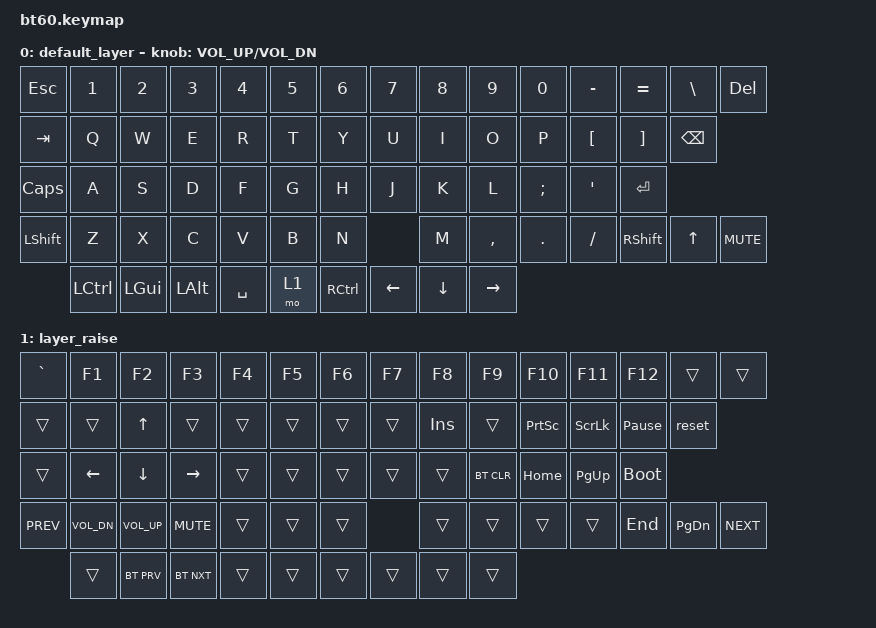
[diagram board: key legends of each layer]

/*
 * Copyright (c) 2020 The ZMK Contributors
 *
 * SPDX-License-Identifier: MIT
 */


/* THIS FILE WAS GENERATED!
 *
 * This file was generated automatically. You may or may not want to
 * edit it directly.
 */

#include <behaviors.dtsi>
#include <dt-bindings/zmk/keys.h>
#include <dt-bindings/zmk/bt.h>

/ {
    keymap {
        compatible = "zmk,keymap";


        default_layer {
            bindings = <
   &kp ESC     &kp N1    &kp N2     &kp N3    &kp N4  &kp N5     &kp N6    &kp N7    &kp N8     &kp N9    &kp N0  &kp MINUS  &kp EQUAL  &kp BSLH  &kp DEL
   &kp TAB      &kp Q     &kp W      &kp E     &kp R   &kp T      &kp Y     &kp U     &kp I      &kp O     &kp P   &kp LBKT   &kp RBKT  &kp BSPC
  &kp CLCK      &kp A     &kp S      &kp D     &kp F   &kp G      &kp H     &kp J     &kp K      &kp L  &kp SEMI    &kp SQT    &kp RET
 &kp LSHFT                &kp Z      &kp X     &kp C   &kp V      &kp B     &kp N     &kp M  &kp COMMA   &kp DOT   &kp FSLH  &kp RSHFT    &kp UP    &kp C_MUTE
            &kp LCTRL  &kp LGUI  &kp LALT  &kp SPACE  &mo 1  &kp RCTRL  &kp LEFT  &kp DOWN  &kp RIGHT
            >;
            sensor-bindings = <&inc_dec_kp C_VOL_UP C_VOL_DN>;
        };

        layer_raise {
            bindings = <
  &kp GRAVE    &kp F1        &kp F2        &kp F3      &kp F4  &kp F5  &kp F6  &kp F7   &kp F8  &kp F9    &kp F10    &kp F11          &kp F12     &trans      &trans
     &trans    &trans        &kp UP        &trans      &trans  &trans  &trans  &trans  &kp INS  &trans  &kp PSCRN   &kp SLCK  &kp PAUSE_BREAK     &reset
     &trans  &kp LEFT      &kp DOWN     &kp RIGHT      &trans  &trans  &trans  &trans   &trans  &bt BT_CLR   &kp HOME  &kp PG_UP      &bootloader
 &kp C_PREV            &kp C_VOL_DN  &kp C_VOL_UP  &kp C_MUTE  &trans  &trans  &trans   &trans  &trans     &trans     &trans          &kp END  &kp PG_DN  &kp C_NEXT
               &trans    &bt BT_PRV    &bt BT_NXT      &trans  &trans  &trans  &trans   &trans  &trans
            >;
        };

    };
};
